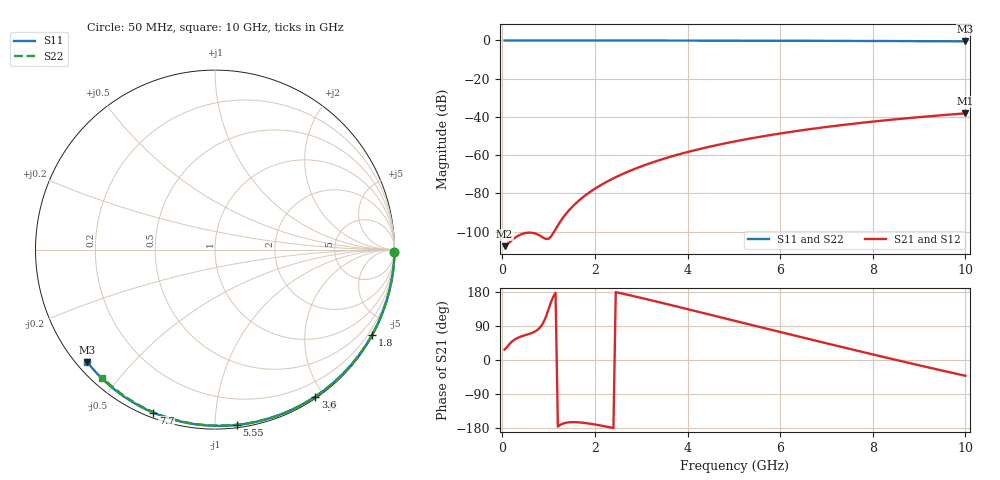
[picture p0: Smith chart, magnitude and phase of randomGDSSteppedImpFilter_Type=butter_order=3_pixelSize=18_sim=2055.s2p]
! freq	dB(S11)	phase(S11)	dB(S12)	phase(S12)
!  dB(S21)	phase(S21)	dB(S22)	phase(S22)
!S-par simulation data
#  GHz  S  DB  R 50
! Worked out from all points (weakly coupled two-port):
!   200 points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, 50 MHz to 10 GHz, reference 50 ohm
!   highest |S21| = -38.12 dB at 10 GHz (marker M1); lowest = -107.6 dB at 50 MHz (marker M2)
!   lowest |S11| = -0.5 dB at 10 GHz (marker M3), VSWR 37.70, Z = 1.52 - j18.9 ohm
!   |S11| at or under -10 dB: nowhere
!   |S22| runs from -0.4 to 0.0 dB; largest |S21 - S12| = 0
!   S11 on the Smith chart (normalised r, x): 50 MHz: open; 1.8 GHz: 0.03, -3.94; 3.6 GHz: 0.02, -1.89; 5.55 GHz: 0.02, -1.13; 7.7 GHz: 0.02, -0.69; 10 GHz: 0.03, -0.38
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0.05  -0.00 -0.8  -107.62 27.7  -107.62 27.7  -0.00 -0.8
0.45  -0.01 -7.2  -101.06 63.9  -101.06 63.9  -0.01 -6.8
0.9  -0.02 -14.4  -103.41 102.0  -103.41 102.0  -0.02 -13.6
1.75  -0.04 -27.7  -81.84 -165.7  -81.84 -165.7  -0.03 -26.2
1.8  -0.04 -28.5  -80.91 -166.4  -80.91 -166.4  -0.03 -27.0
1.85  -0.04 -29.3  -80.02 -167.2  -80.02 -167.2  -0.04 -27.7
2.15  -0.04 -33.9  -75.35 -173.4  -75.35 -173.4  -0.04 -32.1
2.35  -0.05 -37.0  -72.72 -178.3  -72.72 -178.3  -0.05 -35.0
2.55  -0.05 -40.0  -70.38 176.4  -70.38 176.4  -0.05 -37.9
2.95  -0.06 -46.0  -66.34 165.3  -66.34 165.3  -0.06 -43.6
3.4  -0.07 -52.7  -62.55 152.2  -62.55 152.2  -0.07 -49.9
3.6  -0.07 -55.6  -61.06 146.2  -61.06 146.2  -0.07 -52.7
3.9  -0.08 -60.0  -59.01 137.2  -59.01 137.2  -0.08 -56.8
4.3  -0.09 -65.7  -56.57 125.2  -56.57 125.2  -0.09 -62.3
5.05  -0.12 -76.2  -52.67 102.5  -52.67 102.5  -0.11 -72.2
5.55  -0.14 -83.0  -50.46 87.4  -50.46 87.4  -0.13 -78.7
6.1  -0.16 -90.3  -48.29 70.9  -48.29 70.9  -0.15 -85.6
6.7  -0.19 -98.1  -46.21 53.0  -46.21 53.0  -0.18 -93.0
7.7  -0.25 -110.7  -43.24 23.5  -43.24 23.5  -0.24 -105.0
8.35  -0.30 -118.7  -41.59 4.6  -41.59 4.6  -0.29 -112.6
9.2  -0.38 -129.0  -39.70 -19.6  -39.70 -19.6  -0.36 -122.3
10  -0.46 -138.7  -38.12 -41.6  -38.12 -41.6  -0.44 -131.3
